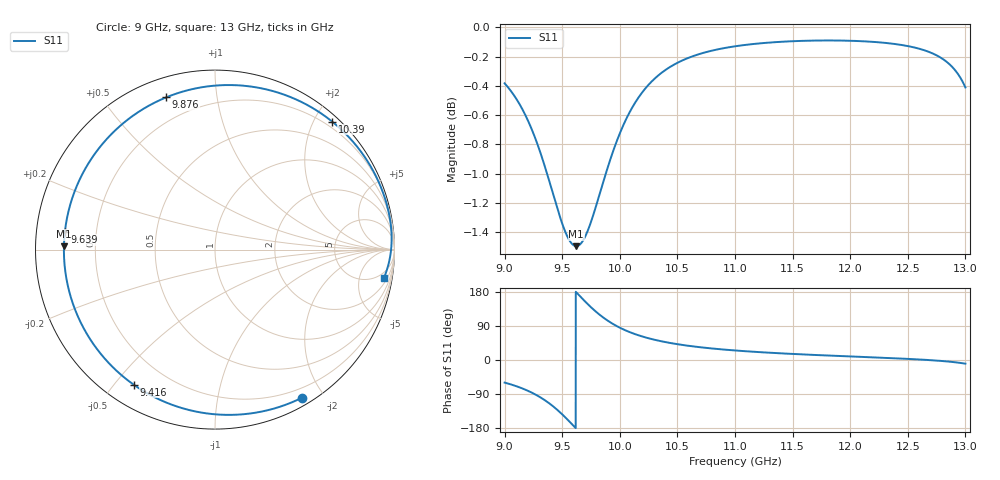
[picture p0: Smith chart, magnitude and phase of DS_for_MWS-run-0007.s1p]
! TOUCHSTONE file generated by CST DESIGN STUDIO
! Date and time: Tue Feb  4 14:11:52 2025
! Project name: C:\Work\MatlabApps\UnitCellOptimizationMatlab\CST\unitcell.cst
! Tree item: Tasks\Sweep1\SPara1\S-Parameters
! Header version: 2024
! Port assignment regex: !\s*Touchstone port\s*([0-9]+)\s*=\s*(CST MWS port|CST DES external port|CST DES block port)\s*(.+)\s* \(\"(.*)\"\)(\s*mode\s*([0-9]+))?.*
! Touchstone port assignment:
! Touchstone port 1 = CST DES external port 1 ("")
# GHz S MA R 50
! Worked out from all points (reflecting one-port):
!   4001 points, 9 GHz to 13 GHz, reference 50 ohm
!   lowest |S11| = -1.5 dB at 9.622 GHz (marker M1), VSWR 11.65, Z = 4.29 + j0.566 ohm
!   phase of S11 starts at -60 deg and turns -310 deg over the sweep
!   S11 on the Smith chart (normalised r, x): 9 GHz: 0.09, -1.74; 9.416 GHz: 0.09, -0.56; 9.639 GHz: 0.09, +0.06; 9.876 GHz: 0.09, +0.73; 10.39 GHz: 0.10, +2.27; 13 GHz: 3, -11
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9  0.957 -59.6
9.129  0.9415 -72.1
9.256  0.9187 -89.2
9.341  0.8985 -104.4
9.416  0.8784 -121.0
9.458  0.8672 -131.7
9.5  0.8569 -143.4
9.564  0.8455 -162.8
9.622  0.8419 178.7
9.639  0.8422 173.2
9.696  0.8477 155.2
9.762  0.8609 135.8
9.818  0.8752 121.1
9.876  0.8907 107.8
9.934  0.9053 96.3
10  0.92 85.3
10.086  0.9355 73.6
10.178  0.9482 63.7
10.278  0.9584 55.1
10.391  0.9667 47.6
10.5  0.9725 41.7
10.72  0.98 32.9
11  0.9852 25.2
11.5  0.9892 16.0
12  0.9895 9.4
12.5  0.9854 2.9
12.793  0.9761 -2.5
13  0.9538 -9.7
